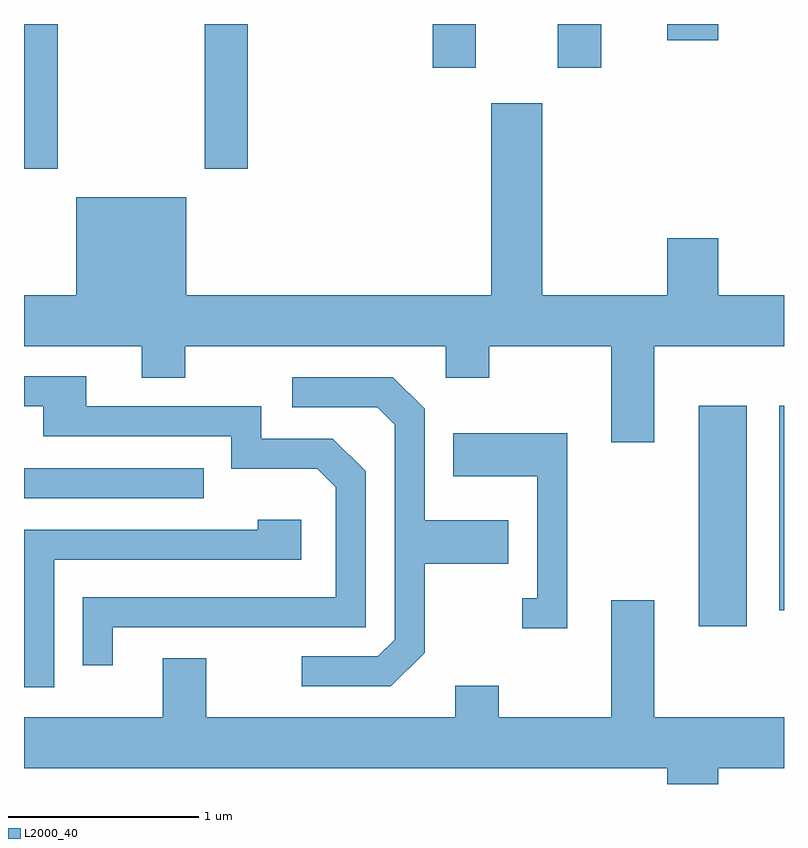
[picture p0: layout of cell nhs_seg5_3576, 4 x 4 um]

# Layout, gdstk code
import gdstk
lib = gdstk.Library(unit=1e-6, precision=1e-09)
def R(c, l, rs):  # rectangles x0, y0, x1, y1
    for r in rs: c.add(gdstk.rectangle(r[:2], r[2:], *l))
def P(c, l, *ps):  # polygons
    for p in ps: c.add(gdstk.Polygon(p, *l))
L2000_40 = (2000, 40)

nhs_seg5_3576 = lib.new_cell('nhs_seg5_3576')
R(nhs_seg5_3576, L2000_40, [(295.161,1430.901,295.414,1432.064), (295.586,1430.986,295.611,1432.064), (291.611,1431.576,292.558,1431.734), (291.611,1433.311,291.789,1434.072), (292.561,1433.311,292.789,1434.072), (293.761,1433.841,293.989,1434.072), (294.421,1433.841,294.649,1434.072), (294.996,1433.986,295.264,1434.072)])
P(nhs_seg5_3576, L2000_40, [(294.929,1432.376),(295.611,1432.376),(295.611,1432.644),(295.264,1432.644),(295.264,1432.944),(294.996,1432.944),(294.996,1432.644),(294.339,1432.644),(294.339,1433.654),(294.071,1433.654),(294.071,1432.644),(292.464,1432.644),(292.464,1433.159),(291.886,1433.159),(291.886,1432.644),(291.611,1432.644),(291.611,1432.376),(292.231,1432.376),(292.231,1432.211),(292.459,1432.211),(292.459,1432.376),(293.831,1432.376),(293.831,1432.211),(294.059,1432.211),(294.059,1432.376),(294.701,1432.376),(294.701,1431.871),(294.929,1431.871)],
  [(292.079,1430.896),(293.409,1430.896),(293.409,1431.717),(293.237,1431.889),(292.859,1431.889),(292.859,1432.059),(291.939,1432.059),(291.939,1432.219),(291.611,1432.219),(291.611,1432.061),(291.711,1432.061),(291.711,1431.901),(292.701,1431.901),(292.701,1431.731),(293.154,1431.731),(293.251,1431.634),(293.251,1431.054),(291.921,1431.054),(291.921,1430.698),(292.079,1430.698)],
  [(293.719,1430.764),(293.719,1431.231),(294.159,1431.231),(294.159,1431.459),(293.719,1431.459),(293.719,1432.047),(293.552,1432.214),(293.023,1432.214),(293.023,1432.056),(293.469,1432.056),(293.561,1431.964),(293.561,1430.832),(293.474,1430.744),(293.073,1430.744),(293.073,1430.586),(293.542,1430.586)],
  [(294.469,1431.919),(293.871,1431.919),(293.871,1431.691),(294.311,1431.691),(294.311,1431.049),(294.233,1431.049),(294.233,1430.891),(294.469,1430.891)],
  [(291.769,1431.251),(293.069,1431.251),(293.069,1431.464),(292.841,1431.464),(292.841,1431.409),(291.611,1431.409),(291.611,1430.581),(291.769,1430.581)],
  [(295.264,1430.156),(295.611,1430.156),(295.611,1430.424),(294.929,1430.424),(294.929,1431.039),(294.701,1431.039),(294.701,1430.424),(294.109,1430.424),(294.109,1430.589),(293.881,1430.589),(293.881,1430.424),(292.569,1430.424),(292.569,1430.734),(292.341,1430.734),(292.341,1430.424),(291.611,1430.424),(291.611,1430.156),(294.996,1430.156),(294.996,1430.072),(295.264,1430.072)])

lib.write_gds('nhs_seg5_3576.gds')
